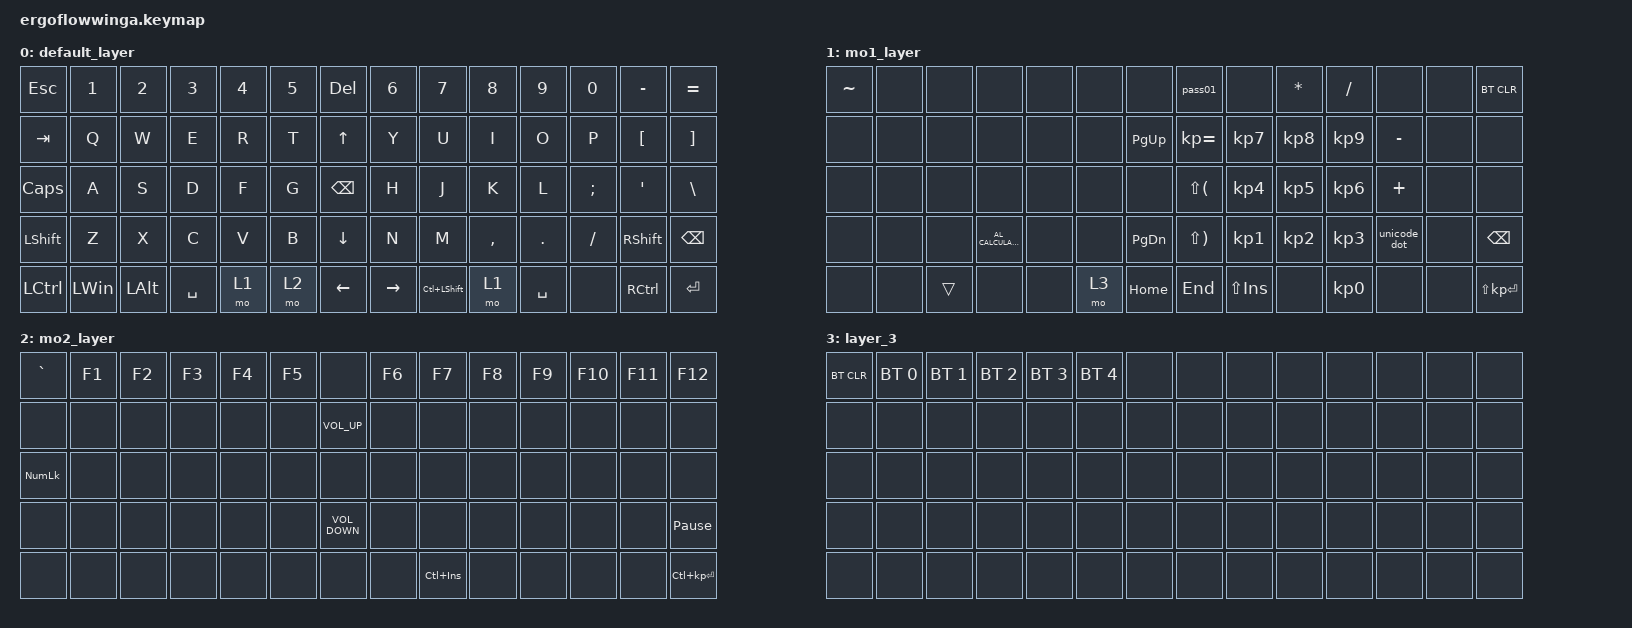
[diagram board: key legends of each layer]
#include <behaviors.dtsi>
#include <dt-bindings/zmk/bt.h>
#include <dt-bindings/zmk/keys.h>

/ {
    macros {
        pass01: pass01 {
            compatible = "zmk,behavior-macro";
            #binding-cells = <0>;
            bindings = <&kp LS(M) &kp B &kp I &kp W &kp B &kp EXCL &kp N9 &kp N8 &kp N0 &kp M &kp B &kp I &kp W &kp B &kp N1>;
            label = "PASS01";
        };

        unicode_dot: unicode_dot {
            compatible = "zmk,behavior-macro";
            #binding-cells = <0>;
            bindings = <&kt LEFT_ALT &kp KP_NUMBER_4 &kp KP_NUMBER_6 &kt LEFT_ALT>;
            label = "UNICODE_DOT";
        };
    };

    keymap {
        compatible = "zmk,keymap";

        default_layer {
            bindings = <
&kp ESC       &kp N1        &kp N2    &kp N3     &kp N4  &kp N5  &kp DEL   &kp N6     &kp N7          &kp N8     &kp N9     &kp N0    &kp MINUS        &kp EQUAL
&kp TAB       &kp Q         &kp W     &kp E      &kp R   &kp T   &kp UP    &kp Y      &kp U           &kp I      &kp O      &kp P     &kp LBKT         &kp RBKT
&kp CAPSLOCK  &kp A         &kp S     &kp D      &kp F   &kp G   &kp BSPC  &kp H      &kp J           &kp K      &kp L      &kp SEMI  &kp SQT          &kp BSLH
&kp LSHFT     &kp Z         &kp X     &kp C      &kp V   &kp B   &kp DOWN  &kp N      &kp M           &kp COMMA  &kp DOT    &kp FSLH  &kp RIGHT_SHIFT  &kp BSPC
&kp LCTRL     &kp LEFT_WIN  &kp LALT  &kp SPACE  &mo 1   &mo 2   &kp LEFT  &kp RIGHT  &kp LC(LSHIFT)  &mo 1      &kp SPACE  &none     &kp RCTRL        &kp RET
            >;
        };

        mo1_layer {
            bindings = <
&kp TILDE  &none  &none   &none                &none  &none  &none      &pass01       &none            &kp STAR         &kp FSLH         &none         &none  &bt BT_CLR
&none      &none  &none   &none                &none  &none  &kp PG_UP  &kp KP_EQUAL  &kp KP_NUMBER_7  &kp KP_NUMBER_8  &kp KP_NUMBER_9  &kp MINUS     &none  &none
&none      &none  &none   &none                &none  &none  &none      &kp LS(LPAR)  &kp KP_NUMBER_4  &kp KP_NUMBER_5  &kp KP_NUMBER_6  &kp PLUS      &none  &none
&none      &none  &none   &kp C_AL_CALCULATOR  &none  &none  &kp PG_DN  &kp LS(RPAR)  &kp KP_NUMBER_1  &kp KP_NUMBER_2  &kp KP_NUMBER_3  &unicode_dot  &none  &kp BSPC
&none      &none  &trans  &none                &none  &mo 3  &kp HOME   &kp END       &kp LS(INS)      &none            &kp KP_NUMBER_0  &none         &none  &kp LS(KP_ENTER)
            >;
        };

        mo2_layer {
            bindings = <
&kp GRAVE       &kp F1  &kp F2  &kp F3  &kp F4  &kp F5  &none              &kp F6  &kp F7          &kp F8  &kp F9  &kp F10  &kp F11  &kp F12
&none           &none   &none   &none   &none   &none   &kp C_VOLUME_UP    &none   &none           &none   &none   &none    &none    &none
&kp KP_NUMLOCK  &none   &none   &none   &none   &none   &none              &none   &none           &none   &none   &none    &none    &none
&none           &none   &none   &none   &none   &none   &kp C_VOLUME_DOWN  &none   &none           &none   &none   &none    &none    &kp PAUSE_BREAK
&none           &none   &none   &none   &none   &none   &none              &none   &kp LC(INSERT)  &none   &none   &none    &none    &kp LC(KP_ENTER)
            >;
        };

        layer_3 {
            bindings = <
&bt BT_CLR  &bt BT_SEL 0  &bt BT_SEL 1  &bt BT_SEL 2  &bt BT_SEL 3  &bt BT_SEL 4  &none  &none  &none  &none  &none  &none  &none  &none
&none       &none         &none         &none         &none         &none         &none  &none  &none  &none  &none  &none  &none  &none
&none       &none         &none         &none         &none         &none         &none  &none  &none  &none  &none  &none  &none  &none
&none       &none         &none         &none         &none         &none         &none  &none  &none  &none  &none  &none  &none  &none
&none       &none         &none         &none         &none         &none         &none  &none  &none  &none  &none  &none  &none  &none
            >;
        };
    };
};
